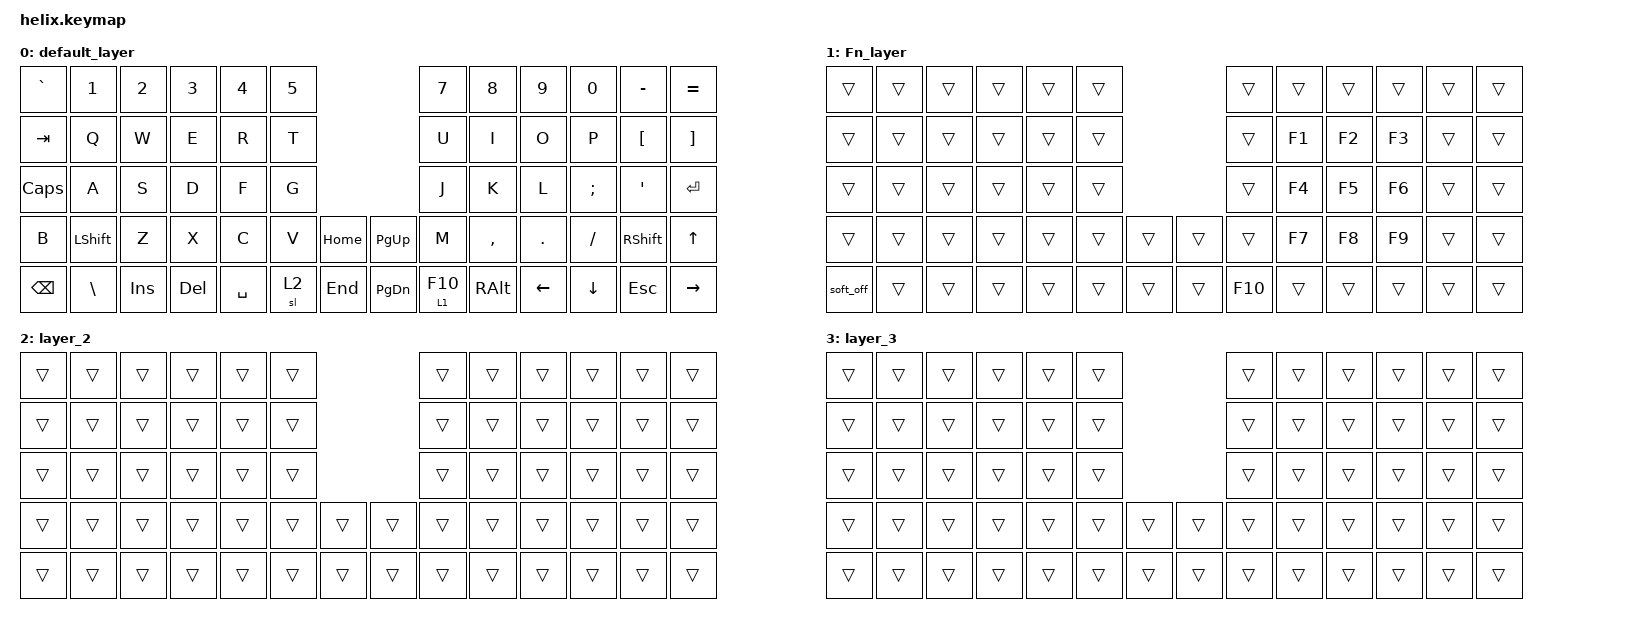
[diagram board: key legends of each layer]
/*
 * Copyright (c) 2020 The ZMK Contributors
 *
 * SPDX-License-Identifier: MIT
 */

#include <behaviors.dtsi>
#include <dt-bindings/zmk/keys.h>

#define DEFAULT 0
#define LOWER  1
#define RAISE  2
#define ADJUST 3

/* NOTE: At the time of the creation of this keymap, there are no specified codes for 'eisuu' and 'kana' input in ZMK.
However, 'LANG1' and 'LANG2' are fully-functioning candidates for 'kana' and 'eisuu' input respectively.
As such, those are in use within the default layer at this time.*/

/ {
    keymap {
        compatible = "zmk,keymap";

        default_layer {
            // ---------------------------------------------------------------------------------------------------------------------------------
            // | GRAVE  |   1    |   2    |   3    |   4    |   5    |                                      |   6    |   7    |   8    |   9    |   0    |  DEL   |
            // |  TAB   |   Q    |   W    |   E    |   R    |   T    |                                      |   Y    |   U    |   I    |   O    |   P    |  BSPC  |
            // |  CTRL  |   A    |   S    |   D    |   F    |   G    |                                      |   H    |   J    |   K    |   L    |   ;    |   '    |
            // |  SHIFT |   Z    |   X    |   C    |   V    |   B    |  LBKT  |                    |  RBKT  |   N    |   M    |   ,    |   .    |   /    |  RET   |
            // | ADJUST |  ESC   |  ALT   |  LGUI  | EISUU  | LOWER  | SPACE  |                    |  SPACE | RAISE  |  KANA  |  LEFT  |  DOWN  |  UP    |  RIGHT |

            bindings = <
&kp GRAVE      &kp N1          &kp N2      &kp N3   &kp N4     &kp N5                             &kp N7     &kp N8         &kp N9      &kp N0         &kp MINUS         &kp EQUAL
&kp TAB        &kp Q           &kp W       &kp E    &kp R      &kp T                              &kp U      &kp I          &kp O       &kp P          &kp LEFT_BRACKET  &kp RIGHT_BRACKET
&kp CAPS       &kp A           &kp S       &kp D    &kp F      &kp G                              &kp J      &kp K          &kp L       &kp SEMICOLON  &kp SINGLE_QUOTE  &kp RET
&kp B          &kp LEFT_SHIFT  &kp Z       &kp X    &kp C      &kp V   &kp HOME    &kp PAGE_UP    &kp M      &kp COMMA      &kp PERIOD  &kp SLASH      &kp RIGHT_SHIFT   &kp UP_ARROW
&kp BACKSPACE  &kp BACKSLASH   &kp INSERT  &kp DEL  &kp SPACE  &sl 2   &kp END     &kp PAGE_DOWN  &lt 1 F10  &kp RIGHT_ALT  &kp LEFT    &kp DOWN       &kp ESCAPE        &kp RIGHT
            >;
        };

        Fn_layer {
            bindings = <
&trans     &trans  &trans  &trans  &trans  &trans                    &trans   &trans  &trans  &trans  &trans  &trans
&trans     &trans  &trans  &trans  &trans  &trans                    &trans   &kp F1  &kp F2  &kp F3  &trans  &trans
&trans     &trans  &trans  &trans  &trans  &trans                    &trans   &kp F4  &kp F5  &kp F6  &trans  &trans
&trans     &trans  &trans  &trans  &trans  &trans  &trans    &trans  &trans   &kp F7  &kp F8  &kp F9  &trans  &trans
&soft_off  &trans  &trans  &trans  &trans  &trans  &trans    &trans  &kp F10  &trans  &trans  &trans  &trans  &trans
            >;
        };

        layer_2 {
            bindings = <
&trans  &trans  &trans  &trans  &trans  &trans                    &trans  &trans  &trans  &trans  &trans  &trans
&trans  &trans  &trans  &trans  &trans  &trans                    &trans  &trans  &trans  &trans  &trans  &trans
&trans  &trans  &trans  &trans  &trans  &trans                    &trans  &trans  &trans  &trans  &trans  &trans
&trans  &trans  &trans  &trans  &trans  &trans  &trans    &trans  &trans  &trans  &trans  &trans  &trans  &trans
&trans  &trans  &trans  &trans  &trans  &trans  &trans    &trans  &trans  &trans  &trans  &trans  &trans  &trans
            >;
        };

        layer_3 {
            bindings = <
&trans  &trans  &trans  &trans  &trans  &trans                    &trans  &trans  &trans  &trans  &trans  &trans
&trans  &trans  &trans  &trans  &trans  &trans                    &trans  &trans  &trans  &trans  &trans  &trans
&trans  &trans  &trans  &trans  &trans  &trans                    &trans  &trans  &trans  &trans  &trans  &trans
&trans  &trans  &trans  &trans  &trans  &trans  &trans    &trans  &trans  &trans  &trans  &trans  &trans  &trans
&trans  &trans  &trans  &trans  &trans  &trans  &trans    &trans  &trans  &trans  &trans  &trans  &trans  &trans
            >;
        };
    };
};
